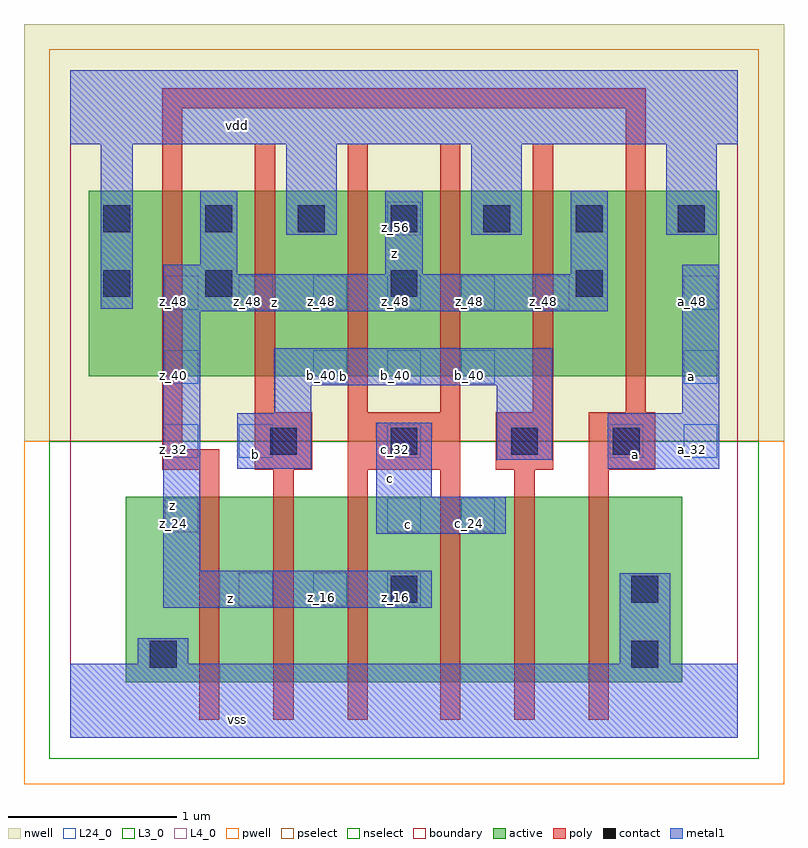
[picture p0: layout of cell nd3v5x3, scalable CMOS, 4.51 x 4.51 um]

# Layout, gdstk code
import gdstk
lib = gdstk.Library(unit=1e-6, precision=2.5e-09)
def R(c, l, rs):  # rectangles x0, y0, x1, y1
    for r in rs: c.add(gdstk.rectangle(r[:2], r[2:], *l))
def A(c, l, x, y, w, h, nx, ny, dx, dy):  # array of equal rectangles
    R(c, l, [(x+i*dx, y+j*dy, x+i*dx+w, y+j*dy+h) for i in range(nx) for j in range(ny)])
L3_0 = (3, 0)
L4_0 = (4, 0)
L24_0 = (24, 0)
contact = (25, 0)
pwell = (41, 0)
nwell = (42, 0)
active = (43, 0)
pselect = (44, 0)
nselect = (45, 0)
poly = (46, 0)
metal1 = (49, 0)
boundary = (63, 0)

nd3v5x3 = lib.new_cell('nd3v5x3')
R(nd3v5x3, L3_0, [(0.33,0.33,3.63,1.43)])
R(nd3v5x3, L4_0, [(0.11,2.145,3.85,3.245)])
A(nd3v5x3, L24_0, 1, 0.78, 0.2, 0.2, 3, 1, 0.44, 0)
A(nd3v5x3, L24_0, 0.56, 1.22, 0.2, 0.2, 1, 3, 0, 0.44)
A(nd3v5x3, L24_0, 3.64, 1.66, 0.2, 0.2, 1, 3, 0, 0.44)
A(nd3v5x3, L24_0, 1.44, 2.1, 0.2, 0.2, 3, 1, 0.44, 0)
A(nd3v5x3, L24_0, 0.56, 2.54, 0.2, 0.2, 6, 1, 0.44, 0)
R(nd3v5x3, L24_0, [(1.88,1.22,2.08,1.42), (2.32,1.22,2.52,1.42), (1,1.66,1.2,1.86), (1.88,1.66,2.08,1.86), (3.2,1.66,3.4,1.86), (1.88,2.98,2.08,3.18)])
A(nd3v5x3, contact, 1.185, 1.68, 0.16, 0.16, 3, 1, 0.715, 0)
A(nd3v5x3, contact, 0.8, 2.615, 0.16, 0.16, 3, 1, 1.1, 0)
A(nd3v5x3, contact, 0.8, 3, 0.16, 0.16, 5, 1, 0.55, 0)
R(nd3v5x3, contact, [(0.47,0.415,0.63,0.575), (3.33,0.415,3.49,0.575), (1.9,0.8,2.06,0.96), (3.33,0.8,3.49,0.96), (3.22,1.68,3.38,1.84), (0.195,2.615,0.355,2.775), (0.195,3,0.355,3.16), (3.605,3,3.765,3.16)])
R(nd3v5x3, pwell, [(-0.275,-0.275,4.235,1.76)])
R(nd3v5x3, nwell, [(-0.275,1.76,4.235,4.235)])
R(nd3v5x3, active, [(0.33,0.33,3.63,1.43), (0.11,2.145,3.85,3.245)])
R(nd3v5x3, pselect, [(-0.125,1.76,4.085,4.085)])
R(nd3v5x3, nselect, [(-0.125,-0.125,4.085,1.76)])
A(nd3v5x3, poly, 0.765, 0.105, 0.12, 1.485, 3, 1, 0.44, 0)
A(nd3v5x3, poly, 2.195, 0.105, 0.12, 1.485, 3, 1, 0.44, 0)
A(nd3v5x3, poly, 1.095, 1.93, 0.12, 1.595, 4, 1, 0.55, 0)
R(nd3v5x3, poly, [(0.545,1.59,0.885,1.71), (1.095,1.59,1.435,1.93), (1.645,1.59,2.315,1.93), (2.525,1.59,2.865,1.93), (3.075,1.59,3.47,1.93), (0.545,1.71,0.665,3.735), (3.295,1.93,3.415,3.735), (0.545,3.735,3.415,3.855)])
R(nd3v5x3, metal1, [(0,0,3.96,0.44), (0.4,0.44,0.7,0.59), (3.26,0.44,3.56,0.975), (0.55,0.77,2.145,0.99), (0.55,0.99,0.77,2.53), (1.815,1.21,2.585,1.43), (1.815,1.43,2.145,1.87), (0.99,1.595,1.43,1.925), (3.19,1.595,3.85,1.925), (2.53,1.65,2.86,2.09), (1.21,1.925,1.43,2.09), (3.63,1.925,3.85,2.805), (1.21,2.09,2.86,2.31), (0.55,2.53,3.19,2.75), (0.18,2.545,0.37,3.52), (0.55,2.75,0.99,2.805), (1.87,2.75,2.09,3.245), (2.97,2.75,3.19,3.245), (0.77,2.805,0.99,3.245), (1.28,2.985,1.58,3.52), (2.38,2.985,2.68,3.52), (3.535,2.985,3.835,3.52), (0,3.52,3.96,3.96)])
R(nd3v5x3, boundary, [(0,0,3.96,3.96)])
nd3v5x3.add(gdstk.Label('vss', (0.99,0.11), layer=49, texttype=0))
nd3v5x3.add(gdstk.Label('z', (0.9475,0.825), layer=49, texttype=0))
nd3v5x3.add(gdstk.Label('c', (2.0075,1.265), layer=49, texttype=0))
nd3v5x3.add(gdstk.Label('a', (3.355,1.6775), layer=49, texttype=0))
nd3v5x3.add(gdstk.Label('a', (3.685,2.145), layer=49, texttype=0))
nd3v5x3.add(gdstk.Label('c', (1.8975,1.54), layer=49, texttype=0))
nd3v5x3.add(gdstk.Label('b', (1.1,1.6775), layer=49, texttype=0))
nd3v5x3.add(gdstk.Label('b', (1.6225,2.145), layer=49, texttype=0))
nd3v5x3.add(gdstk.Label('z', (0.605,1.375), layer=49, texttype=0))
nd3v5x3.add(gdstk.Label('z', (1.21,2.585), layer=49, texttype=0))
nd3v5x3.add(gdstk.Label('z', (1.925,2.8725), layer=49, texttype=0))
nd3v5x3.add(gdstk.Label('vdd', (0.99,3.63), layer=49, texttype=0))
nd3v5x3.add(gdstk.Label('a_48', (3.69,2.59), layer=24, texttype=0))
nd3v5x3.add(gdstk.Label('a_40', (3.69,2.15), layer=24, texttype=0))
nd3v5x3.add(gdstk.Label('b_32', (1.05,1.71), layer=24, texttype=0))
nd3v5x3.add(gdstk.Label('z_48', (2.81,2.59), layer=24, texttype=0))
nd3v5x3.add(gdstk.Label('z_48', (2.37,2.59), layer=24, texttype=0))
nd3v5x3.add(gdstk.Label('z_48', (1.93,2.59), layer=24, texttype=0))
nd3v5x3.add(gdstk.Label('z_40', (0.61,2.15), layer=24, texttype=0))
nd3v5x3.add(gdstk.Label('z_32', (0.61,1.71), layer=24, texttype=0))
nd3v5x3.add(gdstk.Label('c_24', (2.37,1.27), layer=24, texttype=0))
nd3v5x3.add(gdstk.Label('c_24', (1.93,1.27), layer=24, texttype=0))
nd3v5x3.add(gdstk.Label('a_32', (3.69,1.71), layer=24, texttype=0))
nd3v5x3.add(gdstk.Label('z_24', (0.61,1.27), layer=24, texttype=0))
nd3v5x3.add(gdstk.Label('z_16', (1.93,0.83), layer=24, texttype=0))
nd3v5x3.add(gdstk.Label('a_32', (3.25,1.71), layer=24, texttype=0))
nd3v5x3.add(gdstk.Label('b_40', (2.37,2.15), layer=24, texttype=0))
nd3v5x3.add(gdstk.Label('z_56', (1.93,3.03), layer=24, texttype=0))
nd3v5x3.add(gdstk.Label('b_40', (1.93,2.15), layer=24, texttype=0))
nd3v5x3.add(gdstk.Label('c_32', (1.93,1.71), layer=24, texttype=0))
nd3v5x3.add(gdstk.Label('z_48', (1.49,2.59), layer=24, texttype=0))
nd3v5x3.add(gdstk.Label('b_40', (1.49,2.15), layer=24, texttype=0))
nd3v5x3.add(gdstk.Label('z_16', (1.49,0.83), layer=24, texttype=0))
nd3v5x3.add(gdstk.Label('z_48', (1.05,2.59), layer=24, texttype=0))
nd3v5x3.add(gdstk.Label('z_16', (1.05,0.83), layer=24, texttype=0))
nd3v5x3.add(gdstk.Label('z_48', (0.61,2.59), layer=24, texttype=0))

lib.write_gds('nd3v5x3.gds')
